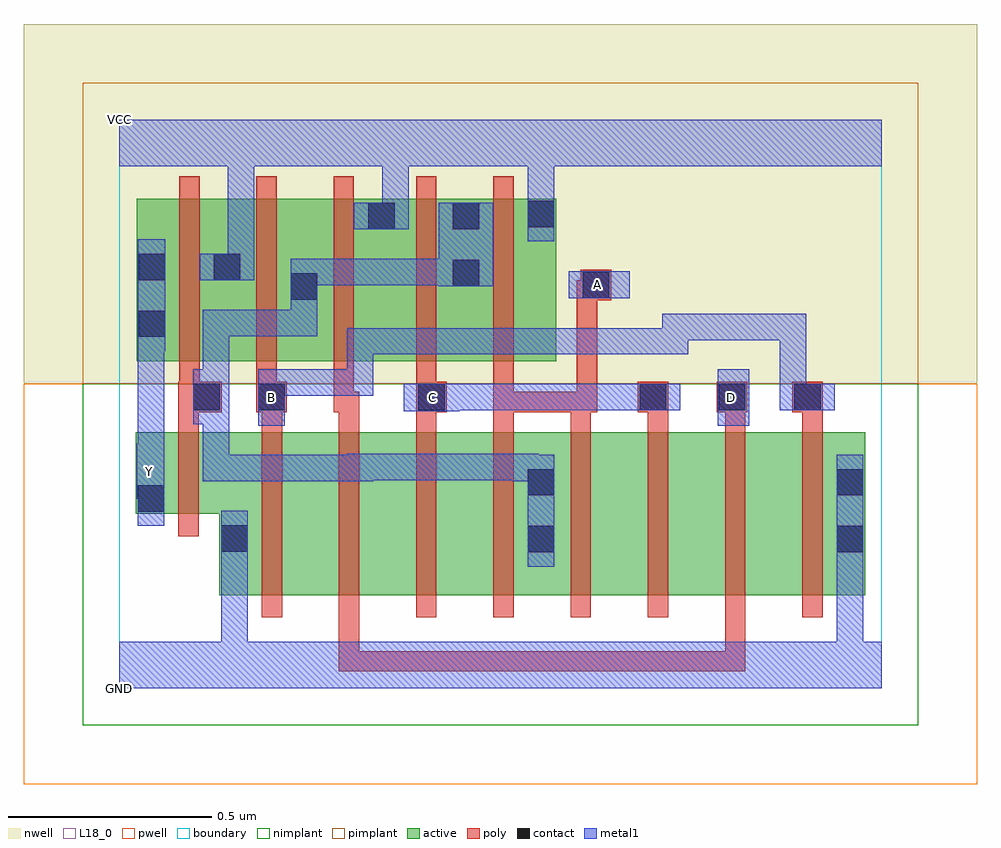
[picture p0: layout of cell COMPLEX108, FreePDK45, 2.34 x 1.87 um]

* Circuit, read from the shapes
.subckt COMPLEX108 A B C D GND VCC Y
M1 GND n1 Y VSUBS nfet w=0.2u l=0.05u
M2 n2 B GND VSUBS nfet w=0.4u l=0.05u
M3 n3 D n2 VSUBS nfet w=0.4u l=0.05u
M4 n4 C n3 VSUBS nfet w=0.4u l=0.05u
M5 n1 A n4 VSUBS nfet w=0.4u l=0.05u
M6 n5 A n1 VSUBS nfet w=0.4u l=0.05u
M7 n6 C n5 VSUBS nfet w=0.4u l=0.05u
M8 n7 D n6 VSUBS nfet w=0.4u l=0.05u
M9 GND B n7 VSUBS nfet w=0.4u l=0.05u
M10 VCC n1 Y n8 pfet w=0.4u l=0.05u
M11 n1 B VCC n8 pfet w=0.4u l=0.05u
M12 VCC D n1 n8 pfet w=0.4u l=0.05u
M13 n1 C VCC n8 pfet w=0.4u l=0.05u
M14 VCC A n1 n8 pfet w=0.4u l=0.05u
.ends

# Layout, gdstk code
import gdstk
lib = gdstk.Library(unit=1e-6, precision=1e-09)
def R(c, l, rs):  # rectangles x0, y0, x1, y1
    for r in rs: c.add(gdstk.rectangle(r[:2], r[2:], *l))
def A(c, l, x, y, w, h, nx, ny, dx, dy):  # array of equal rectangles
    R(c, l, [(x+i*dx, y+j*dy, x+i*dx+w, y+j*dy+h) for i in range(nx) for j in range(ny)])
active = (1, 0)
pwell = (2, 0)
nwell = (3, 0)
nimplant = (4, 0)
pimplant = (5, 0)
poly = (9, 0)
contact = (10, 0)
metal1 = (11, 0)
L18_0 = (18, 0)
boundary = (235, 0)

complex108 = lib.new_cell('COMPLEX108')
R(complex108, active, [(0.245,0.23,0.47,0.63), (0.47,0.23,0.66,0.63), (0.66,0.23,0.85,0.63), (0.85,0.23,1.075,0.63), (1,0.23,1.23,0.63), (1.23,0.23,1.42,0.63), (1.42,0.23,1.61,0.63), (1.61,0.23,1.835,0.63), (1,0.295,1.075,0.617), (1.76,0.295,1.835,0.63), (0.245,0.332,0.32,0.597), (0.04,0.43,0.32,0.63), (0.04,0.43,0.115,0.63), (0.042,0.805,0.302,1.205), (0.042,0.805,0.117,1.2), (0.227,0.805,0.492,1.205), (0.417,0.805,0.682,1.205), (0.607,0.805,0.89,1.205), (0.815,0.805,1.075,1.205), (1,0.805,1.075,1.205), (0.417,0.882,0.492,1.2), (0.227,0.907,0.302,1.205), (0.607,0.907,0.682,1.205), (0.815,0.907,0.89,1.2)])
R(complex108, pwell, [(-0.235,-0.235,2.11,0.75)])
R(complex108, nwell, [(-0.235,0.75,2.11,1.635)])
R(complex108, nimplant, [(-0.09,-0.09,1.965,0.75)])
R(complex108, pimplant, [(-0.09,0.75,1.965,1.49)])
A(complex108, poly, 0.35, 0.175, 0.05, 0.51, 8, 1, 0.19, 0)
A(complex108, poly, 0.35, 0.635, 0.05, 0.095, 8, 1, 0.19, 0)
A(complex108, poly, 0.147, 0.75, 0.05, 0.51, 3, 1, 0.19, 0)
R(complex108, poly, [(0.54,0.042,0.59,0.225), (0.54,0.042,0.59,0.092), (0.54,0.042,0.59,0.092), (0.54,0.042,0.59,0.092), (0.54,0.042,0.837,0.092), (0.787,0.042,0.837,0.092), (0.787,0.042,0.837,0.092), (0.787,0.042,0.837,0.092), (0.787,0.042,1.027,0.092), (0.977,0.042,1.027,0.092), (0.977,0.042,1.027,0.092), (0.977,0.042,1.027,0.092), (0.977,0.042,1.192,0.092), (1.142,0.042,1.192,0.092), (1.142,0.042,1.325,0.092), (1.275,0.042,1.325,0.092), (1.275,0.042,1.325,0.092), (1.275,0.042,1.325,0.092), (1.275,0.042,1.54,0.092), (1.49,0.042,1.54,0.225), (1.49,0.042,1.54,0.092), (1.49,0.042,1.54,0.092), (1.49,0.042,1.54,0.092), (0.145,0.375,0.195,0.685), (0.145,0.635,0.195,0.73), (0.145,0.68,0.252,0.755), (0.337,0.68,0.412,0.755), (0.527,0.68,0.577,0.8), (0.527,0.68,0.59,0.73), (0.73,0.68,0.805,0.755), (0.92,0.68,0.97,0.73), (0.92,0.68,1.16,0.73), (0.92,0.68,0.97,0.8), (1.11,0.68,1.16,0.73), (1.11,0.68,1.16,0.73), (1.11,0.68,1.175,0.73), (1.125,0.68,1.175,1.005), (1.275,0.68,1.35,0.755), (1.47,0.68,1.545,0.755), (1.655,0.68,1.73,0.755), (0.147,0.705,0.197,0.8), (0.337,0.705,0.387,0.8), (0.73,0.705,0.78,0.8), (0.73,0.75,0.78,1.26), (0.92,0.75,0.97,1.26), (1.125,0.955,1.185,1.005), (1.135,0.955,1.21,1.03), (1.135,0.955,1.185,1.005)])
R(complex108, contact, [(1.005,0.335,1.07,0.4), (1.765,0.335,1.83,0.4), (0.25,0.337,0.315,0.402), (0.045,0.435,0.11,0.5), (1.005,0.475,1.07,0.54), (1.765,0.475,1.83,0.54), (0.182,0.685,0.247,0.75), (0.342,0.685,0.407,0.75), (0.735,0.685,0.8,0.75), (1.28,0.685,1.345,0.75), (1.475,0.685,1.54,0.75), (1.66,0.685,1.725,0.75), (0.047,0.865,0.112,0.93), (0.422,0.957,0.487,1.022), (1.14,0.96,1.205,1.025), (0.82,0.99,0.885,1.055), (0.047,1.005,0.112,1.07), (0.232,1.005,0.297,1.07), (0.612,1.13,0.677,1.195), (0.82,1.13,0.885,1.195), (1.005,1.135,1.07,1.2)])
R(complex108, metal1, [(0,0,1.875,0.115), (0.25,0.05,0.315,0.115), (0.25,0.05,0.315,0.115), (0.25,0.05,0.315,0.367), (1.765,0.05,1.83,0.365), (1.765,0.05,1.83,0.115), (1.765,0.05,1.83,0.115), (1.005,0.3,1.07,0.575), (1.765,0.3,1.83,0.575), (0.25,0.302,0.315,0.437), (0.045,0.4,0.11,0.535), (0.042,0.467,0.11,0.602), (0.045,0.47,0.11,0.535), (0.205,0.51,0.27,0.575), (0.205,0.51,0.487,0.575), (0.205,0.51,0.27,0.715), (0.422,0.51,0.487,0.575), (0.422,0.51,0.487,0.575), (0.422,0.51,0.487,0.575), (0.422,0.51,0.625,0.575), (0.56,0.51,0.625,0.577), (0.967,0.51,1.07,0.575), (0.967,0.51,1.032,0.577), (0.56,0.512,0.625,0.577), (0.56,0.512,0.625,0.577), (0.56,0.512,0.765,0.577), (0.7,0.512,0.765,0.577), (0.7,0.512,0.765,0.577), (0.7,0.512,0.765,0.577), (0.7,0.512,1.032,0.577), (0.045,0.537,0.11,0.895), (0.342,0.647,0.407,0.785), (1.472,0.647,1.55,0.785), (0.182,0.65,0.247,0.785), (0.182,0.65,0.27,0.715), (0.205,0.65,0.27,0.715), (0.205,0.65,0.27,0.932), (0.7,0.682,0.837,0.75), (0.77,0.685,0.835,0.75), (0.77,0.685,0.837,0.75), (0.772,0.685,1.032,0.75), (0.967,0.685,1.032,0.75), (0.967,0.685,1.032,0.75), (0.967,0.685,1.032,0.75), (0.967,0.685,1.172,0.75), (1.107,0.685,1.172,0.75), (1.107,0.685,1.31,0.75), (1.245,0.685,1.31,0.75), (1.245,0.685,1.31,0.75), (1.245,0.685,1.38,0.75), (1.625,0.685,1.69,0.75), (1.625,0.685,1.69,0.75), (1.625,0.685,1.76,0.75), (1.625,0.685,1.69,0.922), (0.342,0.72,0.407,0.785), (0.342,0.72,0.407,0.785), (0.342,0.72,0.625,0.785), (0.56,0.72,0.625,0.785), (0.56,0.72,0.625,0.785), (0.56,0.72,0.625,0.785), (0.56,0.72,0.625,0.887), (0.56,0.822,0.625,0.887), (0.56,0.822,0.895,0.887), (0.83,0.822,0.895,0.887), (0.83,0.822,0.895,0.887), (0.83,0.822,0.895,0.887), (0.83,0.822,1.032,0.887), (0.967,0.822,1.032,0.887), (0.967,0.822,1.032,0.887), (0.967,0.822,1.032,0.887), (0.967,0.822,1.172,0.887), (1.107,0.822,1.172,0.887), (1.107,0.822,1.4,0.887), (1.335,0.822,1.4,0.887), (1.335,0.822,1.4,0.887), (1.335,0.822,1.4,0.922), (0.045,0.83,0.112,1.105), (1.335,0.857,1.537,0.922), (1.472,0.857,1.537,0.922), (1.472,0.857,1.537,0.922), (1.472,0.857,1.537,0.922), (1.472,0.857,1.69,0.922), (1.625,0.857,1.69,0.922), (0.205,0.867,0.27,0.932), (0.205,0.867,0.487,0.932), (0.422,0.867,0.487,0.987), (0.422,0.922,0.487,0.987), (0.422,0.922,0.487,1.057), (1.105,0.96,1.255,1.027), (0.785,0.99,0.92,1.195), (0.422,0.992,0.487,1.057), (0.422,0.992,0.487,1.057), (0.422,0.992,0.627,1.057), (0.562,0.992,0.627,1.057), (0.562,0.992,0.627,1.057), (0.562,0.992,0.627,1.057), (0.562,0.992,0.85,1.057), (0.785,0.992,0.85,1.057), (0.785,0.992,0.85,1.057), (0.197,1.005,0.332,1.07), (0.267,1.005,0.332,1.35), (1.005,1.1,1.07,1.235), (0.577,1.13,0.712,1.195), (0.647,1.13,0.712,1.35), (1.005,1.17,1.07,1.35), (0,1.285,1.875,1.4)])
R(complex108, L18_0, [(0,0,1.875,0.115), (0.25,0.05,0.315,0.115), (0.25,0.05,0.315,0.115), (0.25,0.05,0.315,0.367), (1.765,0.05,1.83,0.115), (1.765,0.05,1.83,0.115), (1.765,0.05,1.83,0.365), (1.765,0.3,1.83,0.575), (0.25,0.302,0.315,0.437), (0.045,0.4,0.11,0.535), (0.042,0.467,0.11,0.602), (0.045,0.47,0.11,0.535), (0.042,0.502,0.107,0.567), (0.045,0.537,0.11,0.895), (0.342,0.647,0.407,0.785), (1.472,0.647,1.55,0.785), (0.342,0.682,0.407,0.747), (0.7,0.682,0.837,0.75), (0.737,0.682,0.802,0.747), (1.472,0.682,1.537,0.747), (0.77,0.685,0.835,0.75), (0.77,0.685,0.837,0.75), (0.772,0.685,1.032,0.75), (0.967,0.685,1.032,0.75), (0.967,0.685,1.032,0.75), (0.967,0.685,1.032,0.75), (0.967,0.685,1.172,0.75), (1.107,0.685,1.172,0.75), (1.107,0.685,1.31,0.75), (1.245,0.685,1.31,0.75), (1.245,0.685,1.31,0.75), (1.245,0.685,1.38,0.75), (1.625,0.685,1.69,0.75), (1.625,0.685,1.69,0.75), (1.625,0.685,1.76,0.75), (1.625,0.685,1.69,0.922), (0.342,0.72,0.407,0.785), (0.342,0.72,0.407,0.785), (0.342,0.72,0.625,0.785), (0.56,0.72,0.625,0.785), (0.56,0.72,0.625,0.785), (0.56,0.72,0.625,0.785), (0.56,0.72,0.625,0.887), (0.56,0.822,0.625,0.887), (0.56,0.822,0.895,0.887), (0.83,0.822,0.895,0.887), (0.83,0.822,0.895,0.887), (0.83,0.822,0.895,0.887), (0.83,0.822,1.032,0.887), (0.967,0.822,1.032,0.887), (0.967,0.822,1.032,0.887), (0.967,0.822,1.032,0.887), (0.967,0.822,1.172,0.887), (1.107,0.822,1.172,0.887), (1.107,0.822,1.4,0.887), (1.335,0.822,1.4,0.887), (1.335,0.822,1.4,0.887), (1.335,0.822,1.4,0.922), (0.045,0.83,0.112,1.105), (1.335,0.857,1.537,0.922), (1.472,0.857,1.537,0.922), (1.472,0.857,1.537,0.922), (1.472,0.857,1.537,0.922), (1.472,0.857,1.69,0.922), (1.625,0.857,1.69,0.922), (1.105,0.96,1.255,1.027), (1.142,0.962,1.207,1.027), (0.197,1.005,0.332,1.07), (0.267,1.005,0.332,1.35), (1.005,1.1,1.07,1.235), (0.577,1.13,0.712,1.195), (0.647,1.13,0.712,1.35), (1.005,1.17,1.07,1.35), (0,1.285,1.875,1.4)])
R(complex108, boundary, [(0,0,1.875,1.4)])
complex108.add(gdstk.Label('A', (1.175,0.995), layer=11, texttype=0))
complex108.add(gdstk.Label('B', (0.375,0.715), layer=11, texttype=0))
complex108.add(gdstk.Label('C', (0.77,0.715), layer=11, texttype=0))
complex108.add(gdstk.Label('D', (1.505,0.715), layer=11, texttype=0))
complex108.add(gdstk.Label('Y', (0.075,0.535), layer=11, texttype=0))
complex108.add(gdstk.Label('VCC', (0,1.4), layer=11, texttype=0))
complex108.add(gdstk.Label('GND', (0,0), layer=11, texttype=0))

lib.write_gds('COMPLEX108.gds')
